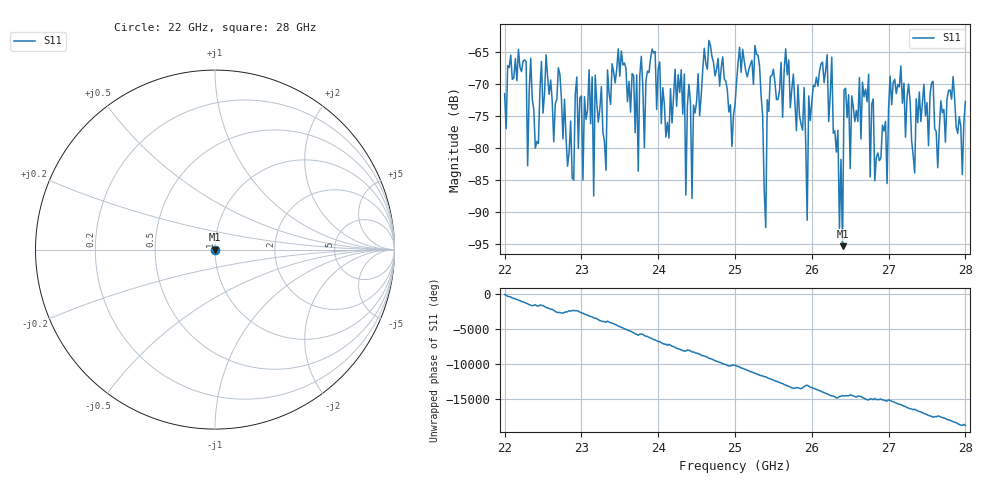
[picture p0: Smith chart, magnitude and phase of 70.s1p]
#  HZ  S  RI  R  50.00
! Rohde & Schwarz ZVA40 4Ports - Version 3.90 - 1145.1110k42 SN: 100403
! Date: 2023-10-04 07:48:55
! Measurement: S12
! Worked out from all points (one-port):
!   301 points, 22 GHz to 28 GHz, reference 50 ohm
!   lowest |S11| = -95.3 dB at 26.4 GHz (marker M1), VSWR 1.00, Z = 50 - j0.00133 ohm
!   |S11| at or under -10 dB: start of sweep to end of sweep
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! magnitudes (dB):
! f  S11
! 22 GHz  -71.6
! 22.28 GHz  -66.5
! 22.3 GHz  -82.8
! 22.34 GHz  -66.0
! 22.4 GHz  -80.0
! 22.54 GHz  -65.5
! 22.76 GHz  -78.6
! 23.5 GHz  -68.8
! 23.72 GHz  -68.6
! 23.74 GHz  -83.6
! 23.78 GHz  -65.7
! 23.82 GHz  -80.0
! 23.92 GHz  -64.6
! 24.1 GHz  -78.3
! 24.26 GHz  -68.6
! 24.36 GHz  -87.4
! 24.66 GHz  -63.2
! 25 GHz  -73.2
! 25.76 GHz  -68.5
! 25.94 GHz  -91.3
! 26.26 GHz  -65.8
! 26.28 GHz  -77.7
! 26.4 GHz  -95.3
! 26.5 GHz  -83.2
! 26.62 GHz  -69.0
! 27.26 GHz  -70.0
! 27.32 GHz  -81.2
! 28 GHz  -72.8
